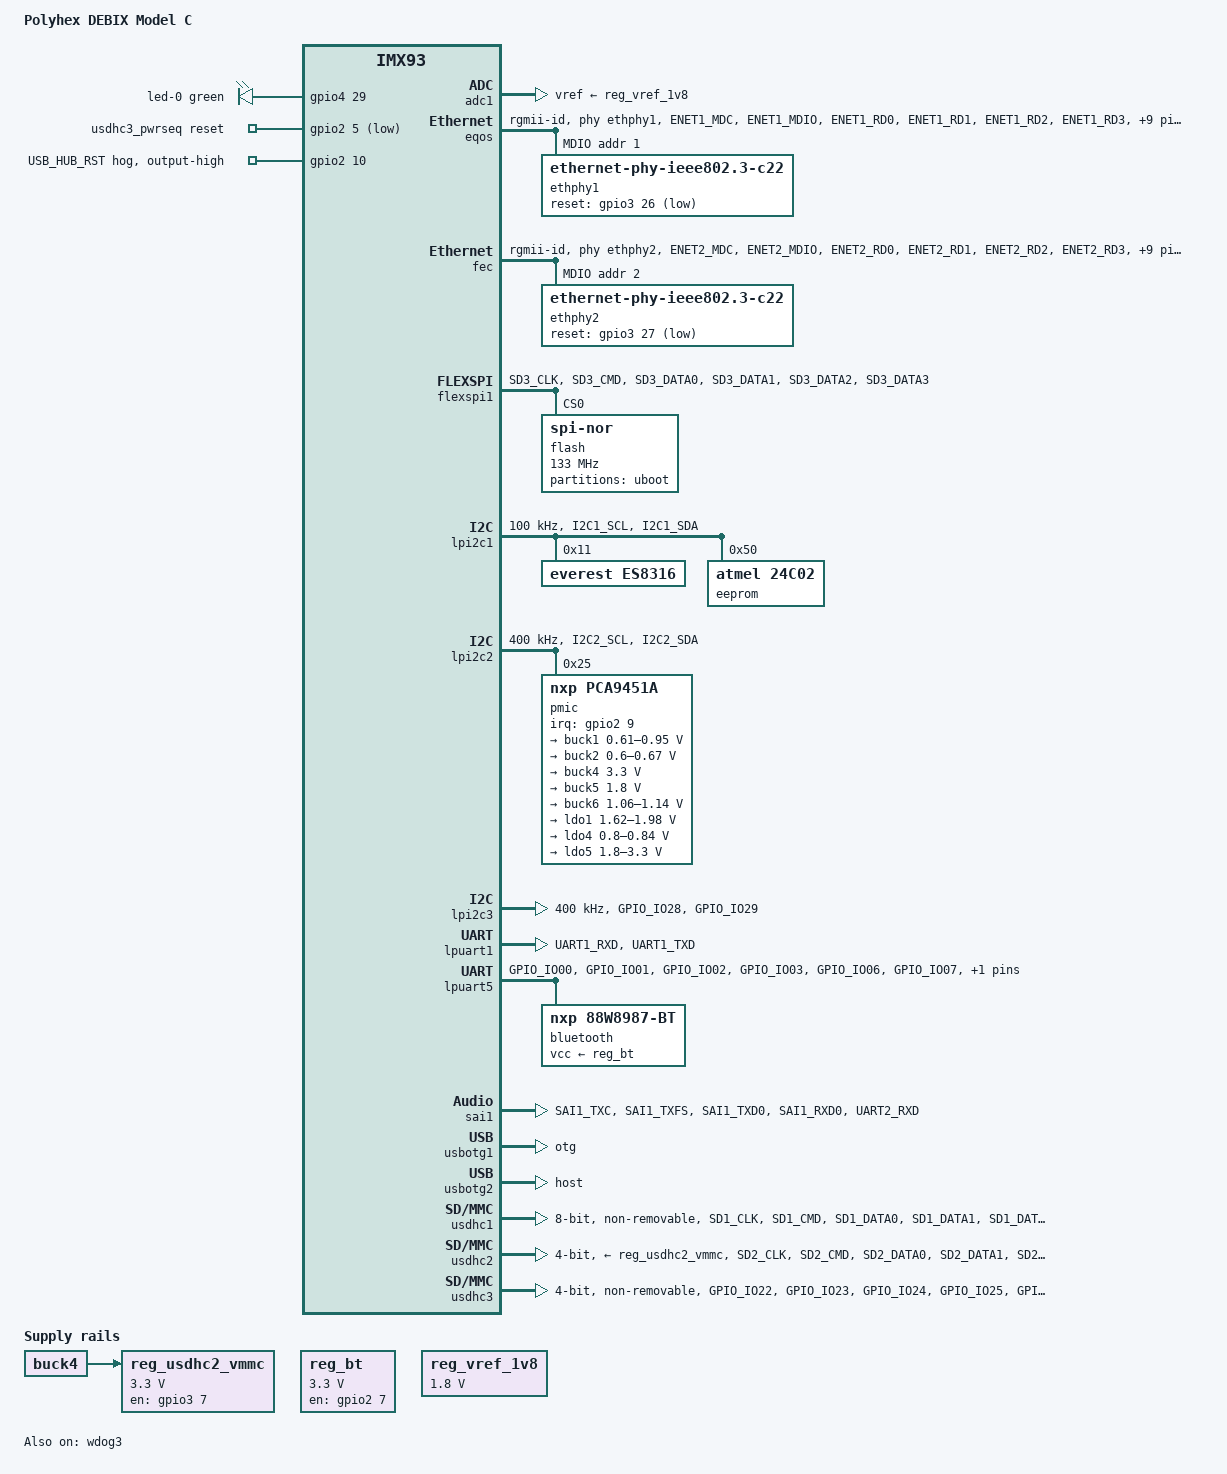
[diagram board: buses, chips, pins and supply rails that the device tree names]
// SPDX-License-Identifier: (GPL-2.0+ OR MIT)
/*
 * Polyhex DEBIX Model C (NXP i.MX93)
 *
 * Structure follows imx93-11x11-frdm.dts. Pin mux and GPIOs come from
 * the vendor DTS (debix-tech/linux-nxp-debix lf_6.1.36-debix_model_c).
 */

/dts-v1/;

#include <dt-bindings/leds/common.h>
#include "imx93.dtsi"

/ {
	model = "Polyhex DEBIX Model C";
	compatible = "polyhex,imx93-debix-model-c", "fsl,imx93";

	aliases {
		ethernet0 = &fec;
		ethernet1 = &eqos;
		i2c0 = &lpi2c1;
		i2c1 = &lpi2c2;
		i2c2 = &lpi2c3;
		mmc0 = &usdhc1; /* eMMC */
		mmc1 = &usdhc2; /* microSD */
		mmc2 = &usdhc3; /* Wi-Fi */
		rtc0 = &bbnsm_rtc;
		serial0 = &lpuart1;
		serial4 = &lpuart5;
	};

	chosen {
		stdout-path = &lpuart1;
	};

	leds {
		compatible = "gpio-leds";
		pinctrl-names = "default";
		pinctrl-0 = <&pinctrl_gpio_led>;

		led-0 {
			function = LED_FUNCTION_STATUS;
			color = <LED_COLOR_ID_GREEN>;
			gpios = <&gpio4 29 GPIO_ACTIVE_HIGH>;
			linux,default-trigger = "heartbeat";
		};
	};

	/* BT_PWR: power-down line of the IW416 module */
	reg_bt: regulator-bt {
		compatible = "regulator-fixed";
		regulator-name = "BT_PWR";
		regulator-min-microvolt = <3300000>;
		regulator-max-microvolt = <3300000>;
		gpio = <&gpio2 7 GPIO_ACTIVE_HIGH>;
		startup-delay-us = <100000>;
		enable-active-high;
	};

	reg_usdhc2_vmmc: regulator-usdhc2 {
		compatible = "regulator-fixed";
		pinctrl-names = "default";
		pinctrl-0 = <&pinctrl_reg_usdhc2_vmmc>;
		regulator-name = "VSD_3V3";
		regulator-min-microvolt = <3300000>;
		regulator-max-microvolt = <3300000>;
		vin-supply = <&buck4>;
		gpio = <&gpio3 7 GPIO_ACTIVE_HIGH>;
		off-on-delay-us = <12000>;
		enable-active-high;
	};

	reg_vref_1v8: regulator-adc-vref {
		compatible = "regulator-fixed";
		regulator-name = "VREF_1V8";
		regulator-min-microvolt = <1800000>;
		regulator-max-microvolt = <1800000>;
	};

	reserved-memory {
		ranges;
		#address-cells = <2>;
		#size-cells = <2>;

		linux,cma {
			compatible = "shared-dma-pool";
			alloc-ranges = <0 0x80000000 0 0x40000000>;
			reusable;
			size = <0 0x8000000>;
			linux,cma-default;
		};
	};

	sound {
		compatible = "simple-audio-card";
		simple-audio-card,name = "es8316-audio";
		simple-audio-card,format = "i2s";
		simple-audio-card,mclk-fs = <256>;
		simple-audio-card,widgets =
			"Microphone", "Mic Jack",
			"Headphone", "Headphone Jack";
		simple-audio-card,routing =
			"MIC2", "Mic Jack",
			"Headphone Jack", "HPOL",
			"Headphone Jack", "HPOR";

		simple-audio-card,cpu {
			sound-dai = <&sai1>;
		};

		simple-audio-card,codec {
			sound-dai = <&es8316>;
		};
	};

	usdhc3_pwrseq: mmc-pwrseq {
		compatible = "mmc-pwrseq-simple";
		pinctrl-names = "default";
		pinctrl-0 = <&pinctrl_wlan_reg_on>;
		reset-gpios = <&gpio2 5 GPIO_ACTIVE_LOW>;
	};
};

&adc1 {
	vref-supply = <&reg_vref_1v8>;
	status = "okay";
};

&eqos {
	pinctrl-names = "default";
	pinctrl-0 = <&pinctrl_eqos>;
	phy-handle = <&ethphy1>;
	phy-mode = "rgmii-id";
	status = "okay";

	mdio {
		compatible = "snps,dwmac-mdio";
		#address-cells = <1>;
		#size-cells = <0>;
		clock-frequency = <5000000>;

		ethphy1: ethernet-phy@1 {
			compatible = "ethernet-phy-ieee802.3-c22";
			reg = <1>;
			reset-gpios = <&gpio3 26 GPIO_ACTIVE_LOW>;
			reset-assert-us = <10000>;
			reset-deassert-us = <150000>;
			eee-broken-1000t;
		};
	};
};

&fec {
	pinctrl-names = "default";
	pinctrl-0 = <&pinctrl_fec>;
	phy-handle = <&ethphy2>;
	phy-mode = "rgmii-id";
	fsl,magic-packet;
	status = "okay";

	mdio {
		#address-cells = <1>;
		#size-cells = <0>;
		clock-frequency = <5000000>;

		ethphy2: ethernet-phy@2 {
			compatible = "ethernet-phy-ieee802.3-c22";
			reg = <2>;
			reset-gpios = <&gpio3 27 GPIO_ACTIVE_LOW>;
			reset-assert-us = <10000>;
			reset-deassert-us = <150000>;
			eee-broken-1000t;
		};
	};
};

/* 8 MB NOR with the vendor U-Boot. Read-only until NOR boot is tested. */
&flexspi1 {
	pinctrl-names = "default";
	pinctrl-0 = <&pinctrl_flexspi1>;
	status = "okay";

	flash@0 {
		compatible = "jedec,spi-nor";
		reg = <0>;
		spi-max-frequency = <133000000>;
		spi-tx-bus-width = <4>;
		spi-rx-bus-width = <4>;

		partitions {
			compatible = "fixed-partitions";
			#address-cells = <1>;
			#size-cells = <1>;

			/* FlexSPI boot image: FCB at 0x400, boot container at 0x1000 */
			partition@0 {
				label = "uboot";
				reg = <0x0 0x800000>;
			};
		};
	};
};

&gpio2 {
	pinctrl-names = "default";
	pinctrl-0 = <&pinctrl_usb_hub>;

	usb-hub-reset-hog {
		gpio-hog;
		gpios = <10 GPIO_ACTIVE_HIGH>;
		output-high;
		line-name = "USB_HUB_RST";
	};
};

&lpi2c1 {
	clock-frequency = <100000>;
	pinctrl-names = "default";
	pinctrl-0 = <&pinctrl_lpi2c1>;
	status = "okay";

	es8316: audio-codec@11 {
		compatible = "everest,es8316";
		reg = <0x11>;
		clocks = <&clk IMX93_CLK_SAI1_GATE>;
		clock-names = "mclk";
		#sound-dai-cells = <0>;
	};

	eeprom@50 {
		compatible = "atmel,24c02";
		reg = <0x50>;
		pagesize = <16>;
	};
};

&lpi2c2 {
	clock-frequency = <400000>;
	pinctrl-names = "default";
	pinctrl-0 = <&pinctrl_lpi2c2>;
	status = "okay";

	pmic@25 {
		compatible = "nxp,pca9451a";
		reg = <0x25>;
		pinctrl-names = "default";
		pinctrl-0 = <&pinctrl_pmic>;
		interrupt-parent = <&gpio2>;
		interrupts = <9 IRQ_TYPE_EDGE_FALLING>;

		regulators {
			buck1: BUCK1 {
				regulator-name = "VDD_SOC_0V8";
				regulator-min-microvolt = <610000>;
				regulator-max-microvolt = <950000>;
				regulator-always-on;
				regulator-boot-on;
				regulator-ramp-delay = <3125>;
			};

			buck2: BUCK2 {
				regulator-name = "LPD4_x_VDDQ_0V6";
				regulator-min-microvolt = <600000>;
				regulator-max-microvolt = <670000>;
				regulator-always-on;
				regulator-boot-on;
				regulator-ramp-delay = <3125>;
			};

			buck4: BUCK4 {
				regulator-name = "VDD_3V3";
				regulator-min-microvolt = <3300000>;
				regulator-max-microvolt = <3300000>;
				regulator-always-on;
				regulator-boot-on;
			};

			buck5: BUCK5 {
				regulator-name = "VDD_1V8";
				regulator-min-microvolt = <1800000>;
				regulator-max-microvolt = <1800000>;
				regulator-always-on;
				regulator-boot-on;
			};

			buck6: BUCK6 {
				regulator-name = "LPD4_x_VDD2_1V1";
				regulator-min-microvolt = <1060000>;
				regulator-max-microvolt = <1140000>;
				regulator-always-on;
				regulator-boot-on;
			};

			ldo1: LDO1 {
				regulator-name = "NVCC_BBSM_1V8";
				regulator-min-microvolt = <1620000>;
				regulator-max-microvolt = <1980000>;
				regulator-always-on;
				regulator-boot-on;
			};

			ldo4: LDO4 {
				regulator-name = "VDD_ANA_0V8";
				regulator-min-microvolt = <800000>;
				regulator-max-microvolt = <840000>;
				regulator-always-on;
				regulator-boot-on;
			};

			ldo5: LDO5 {
				regulator-name = "NVCC_SD";
				regulator-min-microvolt = <1800000>;
				regulator-max-microvolt = <3300000>;
				regulator-always-on;
				regulator-boot-on;
			};
		};
	};
};

&lpi2c3 {
	clock-frequency = <400000>;
	pinctrl-names = "default";
	pinctrl-0 = <&pinctrl_lpi2c3>;
	status = "okay";
};

&lpuart1 { /* console */
	pinctrl-names = "default";
	pinctrl-0 = <&pinctrl_uart1>;
	status = "okay";
};

/* Bluetooth part of the NXP IW416 Wi-Fi module */
&lpuart5 {
	pinctrl-names = "default";
	pinctrl-0 = <&pinctrl_uart5>, <&pinctrl_bt>;
	uart-has-rtscts;
	status = "okay";

	bluetooth {
		compatible = "nxp,88w8987-bt";
		vcc-supply = <&reg_bt>;
	};
};

&sai1 {
	pinctrl-names = "default";
	pinctrl-0 = <&pinctrl_sai1>;
	assigned-clocks = <&clk IMX93_CLK_SAI1>;
	assigned-clock-parents = <&clk IMX93_CLK_AUDIO_PLL>;
	assigned-clock-rates = <12288000>;
	fsl,sai-mclk-direction-output;
	status = "okay";
};

/* USB-C */
&usbotg1 {
	dr_mode = "otg";
	hnp-disable;
	srp-disable;
	adp-disable;
	disable-over-current;
	samsung,picophy-pre-emp-curr-control = <3>;
	samsung,picophy-dc-vol-level-adjust = <7>;
	status = "okay";
};

/* On-board USB 2.0 hub */
&usbotg2 {
	dr_mode = "host";
	disable-over-current;
	samsung,picophy-pre-emp-curr-control = <3>;
	samsung,picophy-dc-vol-level-adjust = <7>;
	status = "okay";
};

/* eMMC */
&usdhc1 {
	pinctrl-names = "default", "state_100mhz", "state_200mhz";
	pinctrl-0 = <&pinctrl_usdhc1>;
	pinctrl-1 = <&pinctrl_usdhc1_100mhz>;
	pinctrl-2 = <&pinctrl_usdhc1_200mhz>;
	bus-width = <8>;
	non-removable;
	status = "okay";
};

/* microSD */
&usdhc2 {
	pinctrl-names = "default", "state_100mhz", "state_200mhz";
	pinctrl-0 = <&pinctrl_usdhc2>, <&pinctrl_usdhc2_gpio>;
	pinctrl-1 = <&pinctrl_usdhc2_100mhz>, <&pinctrl_usdhc2_gpio>;
	pinctrl-2 = <&pinctrl_usdhc2_200mhz>, <&pinctrl_usdhc2_gpio>;
	cd-gpios = <&gpio3 0 GPIO_ACTIVE_LOW>;
	vmmc-supply = <&reg_usdhc2_vmmc>;
	bus-width = <4>;
	no-mmc;
	no-sdio;
	status = "okay";
};

/* Wi-Fi: NXP IW416, mwifiex probes it over SDIO */
&usdhc3 {
	pinctrl-names = "default";
	pinctrl-0 = <&pinctrl_usdhc3>, <&pinctrl_wlan>;
	mmc-pwrseq = <&usdhc3_pwrseq>;
	bus-width = <4>;
	keep-power-in-suspend;
	non-removable;
	status = "okay";
};

&wdog3 {
	status = "okay";
};

&iomuxc {
	pinctrl_bt: btgrp {
		fsl,pins = <
			MX93_PAD_GPIO_IO06__GPIO2_IO06			0x31e
			MX93_PAD_GPIO_IO07__GPIO2_IO07			0x31e
			MX93_PAD_GPIO_IO08__GPIO2_IO08			0x31e
		>;
	};

	pinctrl_eqos: eqosgrp {
		fsl,pins = <
			MX93_PAD_ENET1_MDC__ENET_QOS_MDC			0x57e
			MX93_PAD_ENET1_MDIO__ENET_QOS_MDIO			0x57e
			MX93_PAD_ENET1_RD0__ENET_QOS_RGMII_RD0			0x57e
			MX93_PAD_ENET1_RD1__ENET_QOS_RGMII_RD1			0x57e
			MX93_PAD_ENET1_RD2__ENET_QOS_RGMII_RD2			0x57e
			MX93_PAD_ENET1_RD3__ENET_QOS_RGMII_RD3			0x57e
			MX93_PAD_ENET1_RXC__CCM_ENET_QOS_CLOCK_GENERATE_RX_CLK	0x5fe
			MX93_PAD_ENET1_RX_CTL__ENET_QOS_RGMII_RX_CTL		0x57e
			MX93_PAD_ENET1_TD0__ENET_QOS_RGMII_TD0			0x57e
			MX93_PAD_ENET1_TD1__ENET_QOS_RGMII_TD1			0x57e
			MX93_PAD_ENET1_TD2__ENET_QOS_RGMII_TD2			0x57e
			MX93_PAD_ENET1_TD3__ENET_QOS_RGMII_TD3			0x57e
			MX93_PAD_ENET1_TXC__CCM_ENET_QOS_CLOCK_GENERATE_TX_CLK	0x5fe
			MX93_PAD_ENET1_TX_CTL__ENET_QOS_RGMII_TX_CTL		0x57e
			MX93_PAD_CCM_CLKO1__GPIO3_IO26				0x31e
		>;
	};

	pinctrl_fec: fecgrp {
		fsl,pins = <
			MX93_PAD_ENET2_MDC__ENET1_MDC			0x57e
			MX93_PAD_ENET2_MDIO__ENET1_MDIO			0x57e
			MX93_PAD_ENET2_RD0__ENET1_RGMII_RD0		0x57e
			MX93_PAD_ENET2_RD1__ENET1_RGMII_RD1		0x57e
			MX93_PAD_ENET2_RD2__ENET1_RGMII_RD2		0x57e
			MX93_PAD_ENET2_RD3__ENET1_RGMII_RD3		0x57e
			MX93_PAD_ENET2_RXC__ENET1_RGMII_RXC		0x5fe
			MX93_PAD_ENET2_RX_CTL__ENET1_RGMII_RX_CTL	0x57e
			MX93_PAD_ENET2_TD0__ENET1_RGMII_TD0		0x57e
			MX93_PAD_ENET2_TD1__ENET1_RGMII_TD1		0x57e
			MX93_PAD_ENET2_TD2__ENET1_RGMII_TD2		0x57e
			MX93_PAD_ENET2_TD3__ENET1_RGMII_TD3		0x57e
			MX93_PAD_ENET2_TXC__ENET1_RGMII_TXC		0x5fe
			MX93_PAD_ENET2_TX_CTL__ENET1_RGMII_TX_CTL	0x57e
			MX93_PAD_CCM_CLKO2__GPIO3_IO27			0x31e
		>;
	};

	pinctrl_flexspi1: flexspi1grp {
		fsl,pins = <
			MX93_PAD_SD3_CLK__FLEXSPI1_A_SCLK		0x3fe
			MX93_PAD_SD3_CMD__FLEXSPI1_A_SS0_B		0x3fe
			MX93_PAD_SD3_DATA0__FLEXSPI1_A_DATA00		0x3fe
			MX93_PAD_SD3_DATA1__FLEXSPI1_A_DATA01		0x3fe
			MX93_PAD_SD3_DATA2__FLEXSPI1_A_DATA02		0x3fe
			MX93_PAD_SD3_DATA3__FLEXSPI1_A_DATA03		0x3fe
		>;
	};

	pinctrl_gpio_led: gpioledgrp {
		fsl,pins = <
			MX93_PAD_CCM_CLKO4__GPIO4_IO29			0x31e
		>;
	};

	pinctrl_lpi2c1: lpi2c1grp {
		fsl,pins = <
			MX93_PAD_I2C1_SCL__LPI2C1_SCL			0x40000b9e
			MX93_PAD_I2C1_SDA__LPI2C1_SDA			0x40000b9e
		>;
	};

	pinctrl_lpi2c2: lpi2c2grp {
		fsl,pins = <
			MX93_PAD_I2C2_SCL__LPI2C2_SCL			0x40000b9e
			MX93_PAD_I2C2_SDA__LPI2C2_SDA			0x40000b9e
		>;
	};

	pinctrl_lpi2c3: lpi2c3grp {
		fsl,pins = <
			MX93_PAD_GPIO_IO28__LPI2C3_SDA			0x40000b9e
			MX93_PAD_GPIO_IO29__LPI2C3_SCL			0x40000b9e
		>;
	};

	pinctrl_pmic: pmicgrp {
		fsl,pins = <
			MX93_PAD_GPIO_IO09__GPIO2_IO09			0x40000b9e
		>;
	};

	pinctrl_reg_usdhc2_vmmc: regusdhc2vmmcgrp {
		fsl,pins = <
			MX93_PAD_SD2_RESET_B__GPIO3_IO07		0x31e
		>;
	};

	pinctrl_sai1: sai1grp {
		fsl,pins = <
			MX93_PAD_SAI1_TXC__SAI1_TX_BCLK			0x31e
			MX93_PAD_SAI1_TXFS__SAI1_TX_SYNC		0x31e
			MX93_PAD_SAI1_TXD0__SAI1_TX_DATA00		0x31e
			MX93_PAD_SAI1_RXD0__SAI1_RX_DATA00		0x31e
			MX93_PAD_UART2_RXD__SAI1_MCLK			0x31e
		>;
	};

	pinctrl_uart1: uart1grp {
		fsl,pins = <
			MX93_PAD_UART1_RXD__LPUART1_RX			0x31e
			MX93_PAD_UART1_TXD__LPUART1_TX			0x31e
		>;
	};

	pinctrl_uart5: uart5grp {
		fsl,pins = <
			MX93_PAD_GPIO_IO00__LPUART5_TX			0x31e
			MX93_PAD_GPIO_IO01__LPUART5_RX			0x31e
			MX93_PAD_GPIO_IO02__LPUART5_CTS_B		0x31e
			MX93_PAD_GPIO_IO03__LPUART5_RTS_B		0x31e
		>;
	};

	pinctrl_usb_hub: usbhubgrp {
		fsl,pins = <
			MX93_PAD_GPIO_IO10__GPIO2_IO10			0x31e
		>;
	};

	pinctrl_usdhc1: usdhc1grp {
		fsl,pins = <
			MX93_PAD_SD1_CLK__USDHC1_CLK			0x1582
			MX93_PAD_SD1_CMD__USDHC1_CMD			0x40001382
			MX93_PAD_SD1_DATA0__USDHC1_DATA0		0x40001382
			MX93_PAD_SD1_DATA1__USDHC1_DATA1		0x40001382
			MX93_PAD_SD1_DATA2__USDHC1_DATA2		0x40001382
			MX93_PAD_SD1_DATA3__USDHC1_DATA3		0x40001382
			MX93_PAD_SD1_DATA4__USDHC1_DATA4		0x40001382
			MX93_PAD_SD1_DATA5__USDHC1_DATA5		0x40001382
			MX93_PAD_SD1_DATA6__USDHC1_DATA6		0x40001382
			MX93_PAD_SD1_DATA7__USDHC1_DATA7		0x40001382
			MX93_PAD_SD1_STROBE__USDHC1_STROBE		0x1582
		>;
	};

	pinctrl_usdhc1_100mhz: usdhc1-100mhzgrp {
		fsl,pins = <
			MX93_PAD_SD1_CLK__USDHC1_CLK			0x158e
			MX93_PAD_SD1_CMD__USDHC1_CMD			0x4000138e
			MX93_PAD_SD1_DATA0__USDHC1_DATA0		0x4000138e
			MX93_PAD_SD1_DATA1__USDHC1_DATA1		0x4000138e
			MX93_PAD_SD1_DATA2__USDHC1_DATA2		0x4000138e
			MX93_PAD_SD1_DATA3__USDHC1_DATA3		0x4000138e
			MX93_PAD_SD1_DATA4__USDHC1_DATA4		0x4000138e
			MX93_PAD_SD1_DATA5__USDHC1_DATA5		0x4000138e
			MX93_PAD_SD1_DATA6__USDHC1_DATA6		0x4000138e
			MX93_PAD_SD1_DATA7__USDHC1_DATA7		0x4000138e
			MX93_PAD_SD1_STROBE__USDHC1_STROBE		0x158e
		>;
	};

	pinctrl_usdhc1_200mhz: usdhc1-200mhzgrp {
		fsl,pins = <
			MX93_PAD_SD1_CLK__USDHC1_CLK			0x15fe
			MX93_PAD_SD1_CMD__USDHC1_CMD			0x400013fe
			MX93_PAD_SD1_DATA0__USDHC1_DATA0		0x400013fe
			MX93_PAD_SD1_DATA1__USDHC1_DATA1		0x400013fe
			MX93_PAD_SD1_DATA2__USDHC1_DATA2		0x400013fe
			MX93_PAD_SD1_DATA3__USDHC1_DATA3		0x400013fe
			MX93_PAD_SD1_DATA4__USDHC1_DATA4		0x400013fe
			MX93_PAD_SD1_DATA5__USDHC1_DATA5		0x400013fe
			MX93_PAD_SD1_DATA6__USDHC1_DATA6		0x400013fe
			MX93_PAD_SD1_DATA7__USDHC1_DATA7		0x400013fe
			MX93_PAD_SD1_STROBE__USDHC1_STROBE		0x15fe
		>;
	};

	pinctrl_usdhc2: usdhc2grp {
		fsl,pins = <
			MX93_PAD_SD2_CLK__USDHC2_CLK			0x1582
			MX93_PAD_SD2_CMD__USDHC2_CMD			0x40001382
			MX93_PAD_SD2_DATA0__USDHC2_DATA0		0x40001382
			MX93_PAD_SD2_DATA1__USDHC2_DATA1		0x40001382
			MX93_PAD_SD2_DATA2__USDHC2_DATA2		0x40001382
			MX93_PAD_SD2_DATA3__USDHC2_DATA3		0x40001382
			MX93_PAD_SD2_VSELECT__USDHC2_VSELECT		0x51e
		>;
	};

	pinctrl_usdhc2_100mhz: usdhc2-100mhzgrp {
		fsl,pins = <
			MX93_PAD_SD2_CLK__USDHC2_CLK			0x158e
			MX93_PAD_SD2_CMD__USDHC2_CMD			0x4000138e
			MX93_PAD_SD2_DATA0__USDHC2_DATA0		0x4000138e
			MX93_PAD_SD2_DATA1__USDHC2_DATA1		0x4000138e
			MX93_PAD_SD2_DATA2__USDHC2_DATA2		0x4000138e
			MX93_PAD_SD2_DATA3__USDHC2_DATA3		0x4000138e
			MX93_PAD_SD2_VSELECT__USDHC2_VSELECT		0x51e
		>;
	};

	pinctrl_usdhc2_200mhz: usdhc2-200mhzgrp {
		fsl,pins = <
			MX93_PAD_SD2_CLK__USDHC2_CLK			0x15fe
			MX93_PAD_SD2_CMD__USDHC2_CMD			0x400013fe
			MX93_PAD_SD2_DATA0__USDHC2_DATA0		0x400013fe
			MX93_PAD_SD2_DATA1__USDHC2_DATA1		0x400013fe
			MX93_PAD_SD2_DATA2__USDHC2_DATA2		0x400013fe
			MX93_PAD_SD2_DATA3__USDHC2_DATA3		0x400013fe
			MX93_PAD_SD2_VSELECT__USDHC2_VSELECT		0x51e
		>;
	};

	pinctrl_usdhc2_gpio: usdhc2gpiogrp {
		fsl,pins = <
			MX93_PAD_SD2_CD_B__GPIO3_IO00			0x31e
		>;
	};

	pinctrl_usdhc3: usdhc3grp {
		fsl,pins = <
			MX93_PAD_GPIO_IO22__USDHC3_CLK			0x15fe
			MX93_PAD_GPIO_IO23__USDHC3_CMD			0x13fe
			MX93_PAD_GPIO_IO24__USDHC3_DATA0		0x13fe
			MX93_PAD_GPIO_IO25__USDHC3_DATA1		0x13fe
			MX93_PAD_GPIO_IO26__USDHC3_DATA2		0x13fe
			MX93_PAD_GPIO_IO27__USDHC3_DATA3		0x13fe
		>;
	};

	pinctrl_wlan: wlangrp {
		fsl,pins = <
			MX93_PAD_GPIO_IO04__GPIO2_IO04			0x31e
		>;
	};

	pinctrl_wlan_reg_on: wlanregongrp {
		fsl,pins = <
			MX93_PAD_GPIO_IO05__GPIO2_IO05			0x31e
		>;
	};
};
